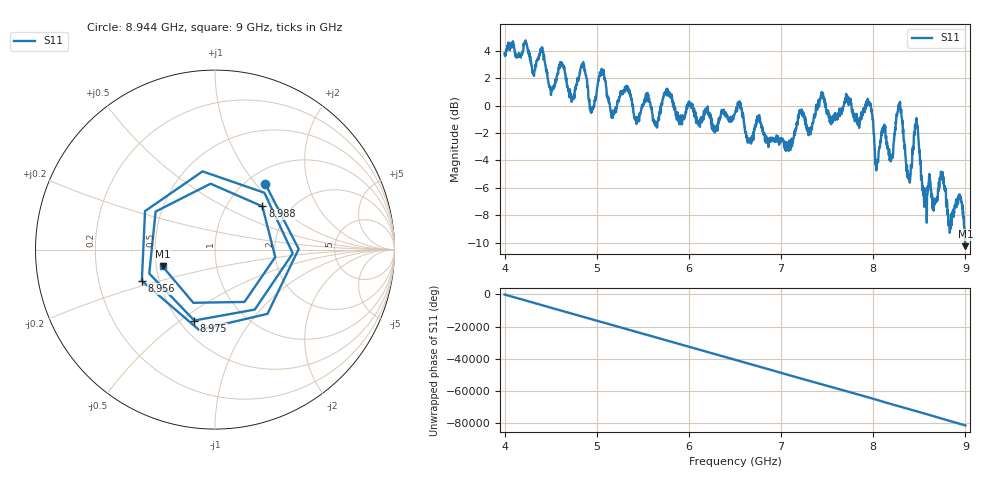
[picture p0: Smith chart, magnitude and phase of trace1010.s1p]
! Created with skrf 1.8.0 (http://scikit-rf.org).
# Hz S RI R 50.0
!freq ReS11 ImS11
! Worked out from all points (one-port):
!   1601 points, 4 GHz to 9 GHz, reference 50 ohm
!   lowest |S11| = -10.3 dB at 9 GHz (marker M1), VSWR 1.89, Z = 27 - j5.57 ohm
!   |S11| at or under -10 dB: 8.99785 GHz to end of sweep
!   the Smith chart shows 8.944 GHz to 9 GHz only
!   S11 on the Smith chart (normalised r, x): 8.944 GHz: 1.22, +1.12; 8.956 GHz: 0.40, -0.17; 8.975 GHz: 0.59, -0.56; 8.988 GHz: 1.45, +0.80; 9 GHz: 0.54, -0.11
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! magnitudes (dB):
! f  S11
! 4 GHz  3.8
! 4.403 GHz  4.2
! 4.509 GHz  1.1
! 4.625 GHz  2.9
! 4.734 GHz  0.5
! 4.853 GHz  3.2
! 4.947 GHz  -0.2
! 5.05 GHz  2.3
! 5.169 GHz  -0.9
! 5.25 GHz  0.7
! 5.875 GHz  -0.5
! 6.5 GHz  -0.5
! 7.125 GHz  -2.6
! 7.444 GHz  0.7
! 7.75 GHz  0.5
! 7.959 GHz  0.2
! 8.041 GHz  -4.3
! 8.112 GHz  -1.8
! 8.194 GHz  -3.9
! 8.288 GHz  0.0
! 8.375 GHz  -4.8
! 8.466 GHz  -1.4
! 8.559 GHz  -7.1
! 8.944 GHz  -6.7
! 8.956 GHz  -7.1
! 8.975 GHz  -7.7
! 8.988 GHz  -8.9
! 9 GHz  -10.3
